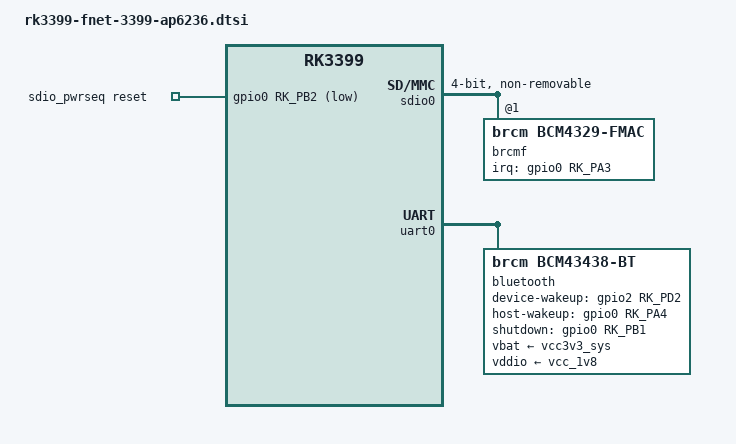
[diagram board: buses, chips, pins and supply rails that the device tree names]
// SPDX-License-Identifier: (GPL-2.0+ OR MIT)
//
// Erya FNet3399 —— SW799 核心板板载 AP6236（Ampak；芯片识别为 BCM43430B0）无线/蓝牙使能
//
// QuartzWrt 设备适配层追加（2026-10-15），由 rk3399-fnet-3399.dts 末尾 #include 引入；
// 厂商原版 DTS 不含无线节点（vendor 未启用），本文件内容全部来自公开的 SW799 布线资料，
// 四份独立来源逐字段一致：
//   - cm9vdA/build-linux    boot/dts/rockchip/{mainline,bsp}/rk3399-fine3399.dts
//   - unifreq/linux-6.6.y   arch/arm64/boot/dts/rockchip/rk3399-bozz-sw799.dts
//   - armbian/build         patch/kernel/archive/rockchip64-6.18/dt/rk3399-fine3399.dts
//   - Lemon1151/iStoreOS-RK3399  fnet3399/kernel-rockchip/patches/993-...（model/compatible
//     与厂商 DTS 逐字段一致：erya,fnet-3399 —— 即本板专用移植）
//
// 关键引脚（均在 SW799 核心板内部，与 FNet3399 底板已用引脚无交叠）：
//   WL_REG_ON     gpio0 RK_PB2  sdio_pwrseq reset-gpios（低有效，兼作 SDIO 上电时序）
//   WL_HOST_WAKE  gpio0 RK_PA3  wifi@1 host-wake 中断（高有效）
//   BT_REG_ON     gpio0 RK_PB1  bluetooth shutdown-gpios（高有效）
//   BT_HOST_WAKE  gpio0 RK_PA4  bluetooth host-wakeup-gpios（高有效）
//   BT_WAKE       gpio2 RK_PD2  bluetooth device-wakeup-gpios（高有效）
//   32.768kHz LPO 与 SDIO 参考时钟均取自 RK808 CLKOUT（clocks = <&rk808 1>）
//
// 固件名（内核源码核实）：
//   brcmfmac：sdio.c BRCMF_FW_ENTRY(43430, 0xFFFFFFFC, 43430B0) → brcmfmac43430b0-sdio.{bin,txt}；
//     of.c 以根节点 compatible 首串为 board_type，故优先尝试 <名>.erya,fnet-3399.{bin,txt}，
//     缺失自动回落通用名（firmware.c alt path → fallback）。
//   btbcm（蓝牙）：subver 0x410c → "BCM43430B0"，HCD 取 brcm/BCM43430B0.hcd。
//   两类固件均由设备包 brcmfmac-firmware-fnet3399 投放（见 devices/erya_fnet-3399/files/package/）。

/ {
	aliases {
		/* 保持厂商原有 mmc0 = &sdhci（eMMC 序号不动），SDIO 无线取 mmc1 */
		mmc1 = &sdio0;
	};

	sdio_pwrseq: sdio-pwrseq {
		compatible = "mmc-pwrseq-simple";
		clocks = <&rk808 1>;
		clock-names = "ext_clock";
		pinctrl-names = "default";
		pinctrl-0 = <&wifi_reg_on_h>;
		reset-gpios = <&gpio0 RK_PB2 GPIO_ACTIVE_LOW>;
	};
};

&pinctrl {
	sdio-pwrseq {
		wifi_reg_on_h: wifi-reg-on-h {
			rockchip,pins = <0 RK_PB2 RK_FUNC_GPIO &pcfg_pull_none>;
		};
	};

	wifi {
		wifi_host_wake_l: wifi-host-wake-l {
			rockchip,pins = <0 RK_PA3 RK_FUNC_GPIO &pcfg_pull_none>;
		};
	};

	bt {
		bt_enable_h: bt-enable-h {
			rockchip,pins = <0 RK_PB1 RK_FUNC_GPIO &pcfg_pull_none>;
		};

		bt_host_wake_l: bt-host-wake-l {
			rockchip,pins = <0 RK_PA4 RK_FUNC_GPIO &pcfg_pull_down>;
		};

		bt_wake_l: bt-wake-l {
			rockchip,pins = <2 RK_PD2 RK_FUNC_GPIO &pcfg_pull_none>;
		};
	};
};

&sdio0 {
	#address-cells = <1>;
	#size-cells = <0>;
	bus-width = <4>;
	cap-sd-highspeed;
	cap-sdio-irq;
	clock-frequency = <50000000>;
	disable-wp;
	keep-power-in-suspend;
	max-frequency = <50000000>;
	mmc-pwrseq = <&sdio_pwrseq>;
	non-removable;
	pinctrl-names = "default";
	pinctrl-0 = <&sdio0_bus4 &sdio0_cmd &sdio0_clk>;
	sd-uhs-sdr104;
	status = "okay";

	brcmf: wifi@1 {
		reg = <1>;
		compatible = "brcm,bcm4329-fmac";
		interrupt-parent = <&gpio0>;
		interrupts = <RK_PA3 GPIO_ACTIVE_HIGH>;
		interrupt-names = "host-wake";
		brcm,drive-strength = <5>;
		pinctrl-names = "default";
		pinctrl-0 = <&wifi_host_wake_l>;
	};
};

/* 蓝牙挂在 UART0（SW799 核心板内部走线；本板控制台为 uart2，不冲突） */
&uart0 {
	pinctrl-names = "default";
	pinctrl-0 = <&uart0_xfer &uart0_cts &uart0_rts>;
	status = "okay";

	bluetooth {
		compatible = "brcm,bcm43438-bt";
		clocks = <&rk808 1>;
		clock-names = "lpo";
		device-wakeup-gpios = <&gpio2 RK_PD2 GPIO_ACTIVE_HIGH>;
		host-wakeup-gpios = <&gpio0 RK_PA4 GPIO_ACTIVE_HIGH>;
		shutdown-gpios = <&gpio0 RK_PB1 GPIO_ACTIVE_HIGH>;
		max-speed = <4000000>;
		pinctrl-names = "default";
		pinctrl-0 = <&bt_host_wake_l &bt_wake_l &bt_enable_h>;
		vbat-supply = <&vcc3v3_sys>;
		vddio-supply = <&vcc_1v8>;
	};
};
